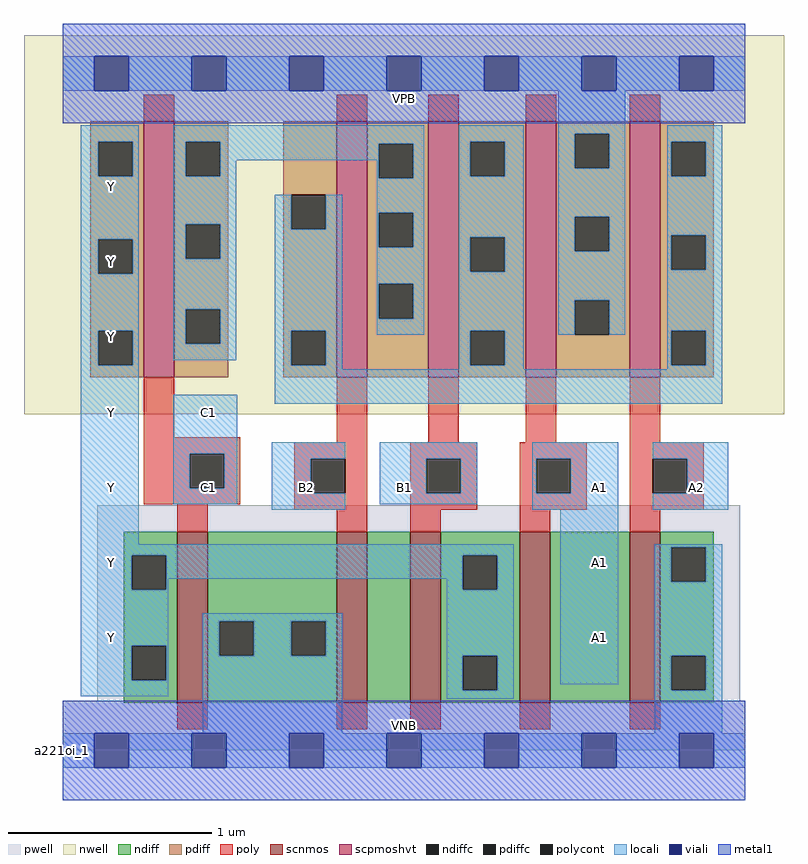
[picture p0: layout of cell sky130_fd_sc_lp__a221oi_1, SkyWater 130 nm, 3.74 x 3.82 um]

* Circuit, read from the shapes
.subckt sky130_fd_sc_lp__a221oi_1 A1 A2 B1 B2 C1 VGND VNB VPB VPWR Y
XM1 VGND C1 Y VNB sky130_fd_pr__nfet_01v8 w=0.84 l=0.15
XM2 n1 B2 VGND VNB sky130_fd_pr__nfet_01v8 w=0.84 l=0.15
XM3 Y B1 n1 VNB sky130_fd_pr__nfet_01v8 w=0.84 l=0.15
XM4 n2 A1 Y VNB sky130_fd_pr__nfet_01v8 w=0.84 l=0.15
XM5 VGND A2 n2 VNB sky130_fd_pr__nfet_01v8 w=0.84 l=0.15
XM6 n3 C1 Y VPB sky130_fd_pr__pfet_01v8_hvt w=1.26 l=0.15
XM7 n3 B2 n4 VPB sky130_fd_pr__pfet_01v8_hvt w=1.26 l=0.15
XM8 n4 B1 n3 VPB sky130_fd_pr__pfet_01v8_hvt w=1.26 l=0.15
XM9 VPWR A1 n4 VPB sky130_fd_pr__pfet_01v8_hvt w=1.26 l=0.15
XM10 n4 A2 VPWR VPB sky130_fd_pr__pfet_01v8_hvt w=1.26 l=0.15
.ends

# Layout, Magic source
magic
tech sky130A
magscale 1 2
<< nwell >>
rect -38 331 710 704
<< pwell >>
rect 34 49 667 241
rect 0 0 672 49
<< scnmos >>
rect 113 47 143 215
rect 270 47 300 215
rect 342 47 372 215
rect 450 47 480 215
rect 558 47 588 215
<< scpmoshvt >>
rect 80 367 110 619
rect 270 367 300 619
rect 360 367 390 619
rect 456 367 486 619
rect 558 367 588 619
<< ndiff >>
rect 60 192 113 215
rect 60 158 68 192
rect 102 158 113 192
rect 60 103 113 158
rect 60 69 68 103
rect 102 69 113 103
rect 60 47 113 69
rect 143 127 270 215
rect 143 93 154 127
rect 188 93 225 127
rect 259 93 270 127
rect 143 47 270 93
rect 300 47 342 215
rect 372 192 450 215
rect 372 158 394 192
rect 428 158 450 192
rect 372 93 450 158
rect 372 59 394 93
rect 428 59 450 93
rect 372 47 450 59
rect 480 47 558 215
rect 588 200 641 215
rect 588 166 599 200
rect 633 166 641 200
rect 588 93 641 166
rect 588 59 599 93
rect 633 59 641 93
rect 588 47 641 59
<< pdiff >>
rect 27 599 80 619
rect 27 565 35 599
rect 69 565 80 599
rect 27 503 80 565
rect 27 469 35 503
rect 69 469 80 503
rect 27 413 80 469
rect 27 379 35 413
rect 69 379 80 413
rect 27 367 80 379
rect 110 599 163 619
rect 110 565 121 599
rect 155 565 163 599
rect 110 518 163 565
rect 110 484 121 518
rect 155 484 163 518
rect 110 434 163 484
rect 110 400 121 434
rect 155 400 163 434
rect 110 367 163 400
rect 217 547 270 619
rect 217 513 225 547
rect 259 513 270 547
rect 217 413 270 513
rect 217 379 225 413
rect 259 379 270 413
rect 217 367 270 379
rect 300 597 360 619
rect 300 563 311 597
rect 345 563 360 597
rect 300 529 360 563
rect 300 495 311 529
rect 345 495 360 529
rect 300 459 360 495
rect 300 425 311 459
rect 345 425 360 459
rect 300 367 360 425
rect 390 599 456 619
rect 390 565 401 599
rect 435 565 456 599
rect 390 505 456 565
rect 390 471 401 505
rect 435 471 456 505
rect 390 413 456 471
rect 390 379 401 413
rect 435 379 456 413
rect 390 367 456 379
rect 486 607 558 619
rect 486 573 504 607
rect 538 573 558 607
rect 486 525 558 573
rect 486 491 504 525
rect 538 491 558 525
rect 486 443 558 491
rect 486 409 504 443
rect 538 409 558 443
rect 486 367 558 409
rect 588 599 641 619
rect 588 565 599 599
rect 633 565 641 599
rect 588 507 641 565
rect 588 473 599 507
rect 633 473 641 507
rect 588 413 641 473
rect 588 379 599 413
rect 633 379 641 413
rect 588 367 641 379
<< ndiffc >>
rect 68 158 102 192
rect 68 69 102 103
rect 154 93 188 127
rect 225 93 259 127
rect 394 158 428 192
rect 394 59 428 93
rect 599 166 633 200
rect 599 59 633 93
<< pdiffc >>
rect 35 565 69 599
rect 35 469 69 503
rect 35 379 69 413
rect 121 565 155 599
rect 121 484 155 518
rect 121 400 155 434
rect 225 513 259 547
rect 225 379 259 413
rect 311 563 345 597
rect 311 495 345 529
rect 311 425 345 459
rect 401 565 435 599
rect 401 471 435 505
rect 401 379 435 413
rect 504 573 538 607
rect 504 491 538 525
rect 504 409 538 443
rect 599 565 633 599
rect 599 473 633 507
rect 599 379 633 413
<< poly >>
rect 80 619 110 645
rect 270 619 300 645
rect 360 619 390 645
rect 456 619 486 645
rect 558 619 588 645
rect 80 308 110 367
rect 80 292 175 308
rect 270 303 300 367
rect 360 303 390 367
rect 456 303 486 367
rect 558 303 588 367
rect 80 258 125 292
rect 159 258 175 292
rect 80 242 175 258
rect 228 287 300 303
rect 228 253 244 287
rect 278 253 300 287
rect 113 215 143 242
rect 228 237 300 253
rect 270 215 300 237
rect 342 287 408 303
rect 342 253 358 287
rect 392 253 408 287
rect 342 237 408 253
rect 450 287 516 303
rect 450 253 466 287
rect 500 253 516 287
rect 450 237 516 253
rect 558 287 631 303
rect 558 253 581 287
rect 615 253 631 287
rect 558 237 631 253
rect 342 215 372 237
rect 450 215 480 237
rect 558 215 588 237
rect 113 21 143 47
rect 270 21 300 47
rect 342 21 372 47
rect 450 21 480 47
rect 558 21 588 47
<< polycont >>
rect 125 258 159 292
rect 244 253 278 287
rect 358 253 392 287
rect 466 253 500 287
rect 581 253 615 287
<< locali >>
rect 0 649 31 683
rect 65 649 127 683
rect 161 649 223 683
rect 257 649 319 683
rect 353 649 415 683
rect 449 649 511 683
rect 545 649 607 683
rect 641 649 672 683
rect 18 599 75 615
rect 18 565 35 599
rect 69 565 75 599
rect 18 503 75 565
rect 18 469 35 503
rect 69 469 75 503
rect 18 413 75 469
rect 18 379 35 413
rect 69 379 75 413
rect 109 599 356 615
rect 109 565 121 599
rect 155 597 356 599
rect 155 581 311 597
rect 155 565 171 581
rect 109 518 171 565
rect 309 563 311 581
rect 345 563 356 597
rect 109 484 121 518
rect 155 484 171 518
rect 109 434 171 484
rect 109 400 121 434
rect 155 400 171 434
rect 109 384 171 400
rect 209 513 225 547
rect 259 513 275 547
rect 209 413 275 513
rect 18 203 75 379
rect 209 379 225 413
rect 259 379 275 413
rect 309 529 356 563
rect 309 495 311 529
rect 345 495 356 529
rect 309 459 356 495
rect 309 425 311 459
rect 345 425 356 459
rect 309 409 356 425
rect 390 599 454 615
rect 390 565 401 599
rect 435 565 454 599
rect 390 505 454 565
rect 390 471 401 505
rect 435 471 454 505
rect 390 413 454 471
rect 209 375 275 379
rect 390 379 401 413
rect 435 379 454 413
rect 488 607 554 649
rect 488 573 504 607
rect 538 573 554 607
rect 488 525 554 573
rect 488 491 504 525
rect 538 491 554 525
rect 488 443 554 491
rect 488 409 504 443
rect 538 409 554 443
rect 595 599 649 615
rect 595 565 599 599
rect 633 565 649 599
rect 595 507 649 565
rect 595 473 599 507
rect 633 473 649 507
rect 595 413 649 473
rect 390 375 454 379
rect 595 379 599 413
rect 633 379 649 413
rect 595 375 649 379
rect 109 292 172 350
rect 209 341 649 375
rect 109 258 125 292
rect 159 258 172 292
rect 109 242 172 258
rect 206 287 278 303
rect 206 253 244 287
rect 206 237 278 253
rect 312 287 408 303
rect 312 253 358 287
rect 392 253 408 287
rect 312 242 408 253
rect 462 287 547 303
rect 462 253 466 287
rect 500 253 547 287
rect 462 237 547 253
rect 581 287 655 303
rect 615 253 655 287
rect 581 237 655 253
rect 18 192 444 203
rect 18 158 68 192
rect 102 169 394 192
rect 102 158 104 169
rect 18 103 104 158
rect 378 158 394 169
rect 428 158 444 192
rect 18 69 68 103
rect 102 69 104 103
rect 18 53 104 69
rect 138 127 275 135
rect 138 93 154 127
rect 188 93 225 127
rect 259 93 275 127
rect 138 17 275 93
rect 378 93 444 158
rect 378 59 394 93
rect 428 59 444 93
rect 490 65 547 237
rect 583 200 649 203
rect 583 166 599 200
rect 633 166 649 200
rect 583 93 649 166
rect 378 51 444 59
rect 583 59 599 93
rect 633 59 649 93
rect 583 17 649 59
rect 0 -17 31 17
rect 65 -17 127 17
rect 161 -17 223 17
rect 257 -17 319 17
rect 353 -17 415 17
rect 449 -17 511 17
rect 545 -17 607 17
rect 641 -17 672 17
<< viali >>
rect 31 649 65 683
rect 127 649 161 683
rect 223 649 257 683
rect 319 649 353 683
rect 415 649 449 683
rect 511 649 545 683
rect 607 649 641 683
rect 31 -17 65 17
rect 127 -17 161 17
rect 223 -17 257 17
rect 319 -17 353 17
rect 415 -17 449 17
rect 511 -17 545 17
rect 607 -17 641 17
<< metal1 >>
rect 0 683 672 715
rect 0 649 31 683
rect 65 649 127 683
rect 161 649 223 683
rect 257 649 319 683
rect 353 649 415 683
rect 449 649 511 683
rect 545 649 607 683
rect 641 649 672 683
rect 0 617 672 649
rect 0 17 672 49
rect 0 -17 31 17
rect 65 -17 127 17
rect 161 -17 223 17
rect 257 -17 319 17
rect 353 -17 415 17
rect 449 -17 511 17
rect 545 -17 607 17
rect 641 -17 672 17
rect 0 -49 672 -17
<< labels >>
flabel pwell s 0 0 672 49 0 FreeSans 200 0 0 0 VNB
port 7 nsew ground bidirectional
flabel nwell s 0 617 672 666 0 FreeSans 200 0 0 0 VPB
port 8 nsew power bidirectional
rlabel comment s 0 0 0 0 4 a221oi_1
flabel metal1 s 0 617 672 666 0 FreeSans 340 0 0 0 VPWR
port 9 nsew power bidirectional
flabel metal1 s 0 0 672 49 0 FreeSans 340 0 0 0 VGND
port 6 nsew ground bidirectional
flabel locali s 511 94 545 128 0 FreeSans 340 0 0 0 A1
port 1 nsew signal input
flabel locali s 511 168 545 202 0 FreeSans 340 0 0 0 A1
port 1 nsew signal input
flabel locali s 511 242 545 276 0 FreeSans 340 0 0 0 A1
port 1 nsew signal input
flabel locali s 319 242 353 276 0 FreeSans 340 0 0 0 B1
port 3 nsew signal input
flabel locali s 127 242 161 276 0 FreeSans 340 0 0 0 C1
port 5 nsew signal input
flabel locali s 127 316 161 350 0 FreeSans 340 0 0 0 C1
port 5 nsew signal input
flabel locali s 31 94 65 128 0 FreeSans 340 0 0 0 Y
port 10 nsew signal output
flabel locali s 31 168 65 202 0 FreeSans 340 0 0 0 Y
port 10 nsew signal output
flabel locali s 31 242 65 276 0 FreeSans 340 0 0 0 Y
port 10 nsew signal output
flabel locali s 31 316 65 350 0 FreeSans 340 0 0 0 Y
port 10 nsew signal output
flabel locali s 31 390 65 424 0 FreeSans 340 0 0 0 Y
port 10 nsew signal output
flabel locali s 31 464 65 498 0 FreeSans 340 0 0 0 Y
port 10 nsew signal output
flabel locali s 31 538 65 572 0 FreeSans 340 0 0 0 Y
port 10 nsew signal output
flabel locali s 607 242 641 276 0 FreeSans 340 0 0 0 A2
port 2 nsew signal input
flabel locali s 223 242 257 276 0 FreeSans 340 0 0 0 B2
port 4 nsew signal input
<< properties >>
string LEFsite unit
string LEFclass CORE
string FIXED_BBOX 0 0 672 666
string GDS_FILE $PDKPATH/libs.ref/sky130_fd_sc_lp/gds/sky130_fd_sc_lp.gds
string LEFsymmetry X Y R90
string GDS_END 5032070
string GDS_START 5024358
<< end >>
